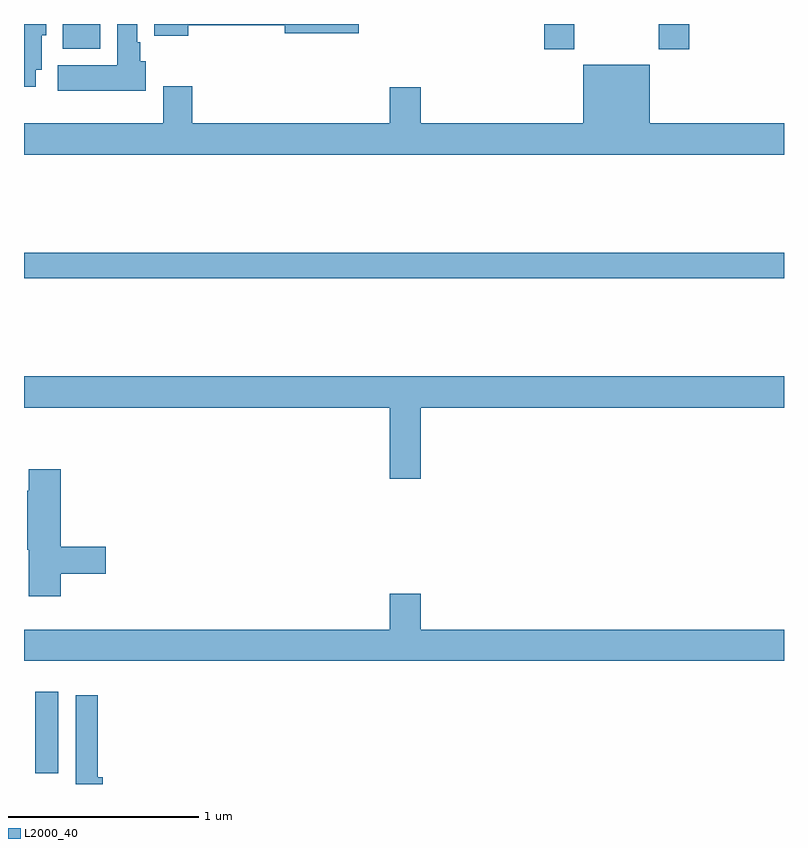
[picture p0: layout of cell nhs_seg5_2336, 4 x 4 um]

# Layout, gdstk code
import gdstk
lib = gdstk.Library(unit=1e-6, precision=1e-09)
def R(c, l, rs):  # rectangles x0, y0, x1, y1
    for r in rs: c.add(gdstk.rectangle(r[:2], r[2:], *l))
def P(c, l, *ps):  # polygons
    for p in ps: c.add(gdstk.Polygon(p, *l))
L2000_40 = (2000, 40)

nhs_seg5_2336 = lib.new_cell('nhs_seg5_2336')
R(nhs_seg5_2336, L2000_40, [(247.058,834.855,247.18,835.285), (247,837.46,251,837.596), (249.737,838.665,249.897,838.799), (250.342,838.665,250.502,838.799), (247.205,838.67,247.401,838.799)])
P(nhs_seg5_2336, L2000_40, [(247.642,838.602),(247.612,838.602),(247.612,838.702),(247.597,838.702),(247.597,838.799),(247.49,838.799),(247.49,838.582),(247.178,838.582),(247.178,838.448),(247.642,838.448)],
  [(247.864,838.792),(248.372,838.792),(248.372,838.75),(248.761,838.75),(248.761,838.799),(247.685,838.799),(247.685,838.736),(247.864,838.736)],
  [(247.063,838.559),(247.093,838.559),(247.093,838.74),(247.117,838.74),(247.117,838.799),(247,838.799),(247,838.47),(247.063,838.47)],
  [(251,838.276),(250.294,838.276),(250.294,838.585),(249.944,838.585),(249.944,838.276),(249.088,838.276),(249.088,838.465),(248.924,838.465),(248.924,838.276),(247.886,838.276),(247.886,838.471),(247.733,838.471),(247.733,838.276),(247,838.276),(247,838.112),(251,838.112)],
  [(249.088,836.78),(251,836.78),(251,836.944),(247,836.944),(247,836.78),(248.924,836.78),(248.924,836.406),(249.088,836.406)],
  [(247.193,835.906),(247.429,835.906),(247.429,836.048),(247.193,836.048),(247.193,836.455),(247.025,836.455),(247.025,836.342),(247.018,836.342),(247.018,836.031),(247.025,836.031),(247.025,835.788),(247.193,835.788)],
  [(251,835.612),(249.088,835.612),(249.088,835.801),(248.924,835.801),(248.924,835.612),(247,835.612),(247,835.448),(251,835.448)],
  [(247.415,834.835),(247.388,834.835),(247.388,835.267),(247.272,835.267),(247.272,834.799),(247.415,834.799)])

lib.write_gds('nhs_seg5_2336.gds')
